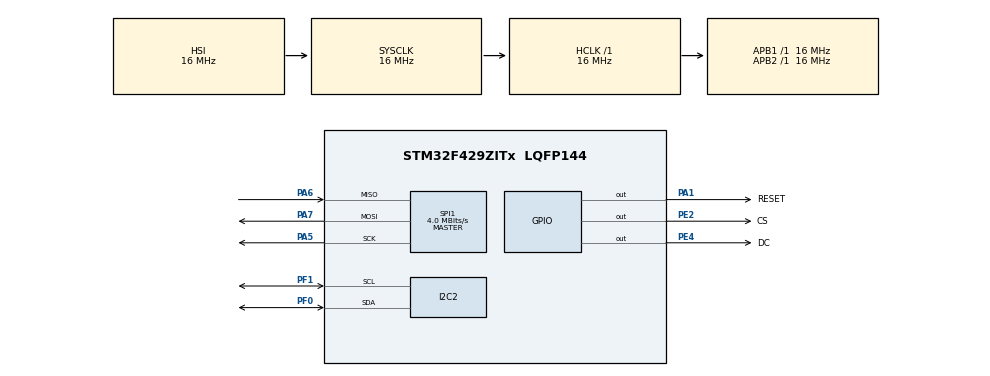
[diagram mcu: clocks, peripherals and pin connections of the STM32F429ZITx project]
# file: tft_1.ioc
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Mcu.Family=STM32F4
PA6.Mode=Full_Duplex_Master
RCC.CortexFreq_Value=16000000
PA7.Mode=Full_Duplex_Master
SPI1.VirtualType=VM_MASTER
PE2.PinState=GPIO_PIN_SET
ProjectManager.StackSize=0x400
PA13.Signal=SYS_JTMS-SWDIO
PF1.Mode=I2C
ProjectManager.TargetToolchain=STM32CubeIDE
SPI1.Direction=SPI_DIRECTION_2LINES
SPI1.CalculateBaudRate=4.0 MBits/s
RCC.LSE_VALUE=32768
PA1.Signal=GPIO_Output
RCC.AHBFreq_Value=16000000
PA5.Signal=SPI1_SCK
RCC.HSE_VALUE=25000000
board=custom
RCC.VCOOutputFreq_Value=192000000
RCC.APB2Freq_Value=16000000
SPI1.Mode=SPI_MODE_MASTER
PA14.Mode=Serial_Wire
PE4.GPIO_Label=DC
PA1.GPIO_Label=RESET
PE2.Signal=GPIO_Output
PF1.Signal=I2C2_SCL
PA13.Mode=Serial_Wire
PE4.Signal=GPIO_Output
Mcu.Name=STM32F429ZITx
RCC.SYSCLKFreq_VALUE=16000000
Mcu.Package=LQFP144
PA6.Signal=SPI1_MISO
PA14.Signal=SYS_JTCK-SWCLK
ProjectManager.HeapSize=0x200
PF0.Mode=I2C
RCC.HSI_VALUE=16000000
NVIC.PriorityGroup=NVIC_PRIORITYGROUP_4
PE4.PinState=GPIO_PIN_SET
PF0.Signal=I2C2_SDA
RCC.APB1Freq_Value=16000000
SPI1.BaudRatePrescaler=SPI_BAUDRATEPRESCALER_4
PE2.GPIO_Label=CS
PA5.Mode=Full_Duplex_Master
PA7.Signal=SPI1_MOSI

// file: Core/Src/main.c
/* USER CODE BEGIN Header */
/**
  ******************************************************************************
  * @file           : main.c
  * @brief          : Main program body
  ******************************************************************************
  * @attention
  *
  * <h2><center>&copy; Copyright (c) 2022 STMicroelectronics.
  * All rights reserved.</center></h2>
  *
  * This software component is licensed by ST under BSD 3-Clause license,
  * the "License"; You may not use this file except in compliance with the
  * License. You may obtain a copy of the License at:
  *                        opensource.org/licenses/BSD-3-Clause
  *
  ******************************************************************************
  */
/* USER CODE END Header */
#include "main.h"
#include "characters.h"

/* USER CODE BEGIN PD */
#define TFT_WIDTH 320
#define TFT_HEIGHT 240
#define TFT_HALF_HEIGHT 120

#define TFT_BLUE    0x1F00
#define TFT_RED     0x00F8
#define TFT_GREEN   0xE007

#define BLACK       	0x0000
#define NAVY        	0x0F00
#define DARKGREEN   	0xE003
#define DARKCYAN    	0xEF03
#define MAROON      	0x0078
#define PURPLE      	0x0F78
#define OLIVE       	0xE07B
#define LIGHTGREY   	0x18C6
#define DARKGREY    	0xEF7B
#define BLUE        	0x1F00
#define GREEN       	0xE007
#define CYAN        	0xFF07
#define RED         	0x00F8
#define MAGENTA     	0x1FF8
#define YELLOW      	0xE0FF
#define WHITE       	0xFFFF
#define ORANGE      	0x20FD
#define GREENYELLOW 	0xE5AF
#define PINK        	0x1FF8
/* USER CODE END PD */

I2C_HandleTypeDef hi2c2;

SPI_HandleTypeDef hspi1;

/* USER CODE BEGIN PV */
uint8_t val, data, dzientyg, rec_buf[16];
uint8_t sek, sekundy=0, sekundy1=0, sekundy2=0, sec=0;
uint8_t minuty=0, minuty1=0, minuty2=0, min=0;
uint8_t godziny=0, godziny1=0, godziny2=0, godz=0;
uint8_t dzien, dni1=0, dni2;
uint8_t miesiac, mies1=0, mies2;
uint8_t rok, rok1=0, rok2;
char sec1, sec2, godz1, godz2, min1, min2;
char dnic1, dnic2, miesc1, miesc2, rokc1, rokc2;

uint8_t sekSt=0x15, minSt=0x30, godzSt=0x12, dniSt=0x09, miesSt=0x06, rokSt=0x22;

uint16_t  dev_addr = 0xD0;
uint16_t  mem_addr = 0;
uint16_t  mem_addr_size =1;
uint8_t   data = 0;
uint16_t  data_size =1;
uint8_t buffer[17]={0x00,0x41,0x42,0x43,0x44,0x45,0x46,0x47,0x48,0x49,0x4A,0x4B,0x4C,0x4D,0x4E,0x4F,0x50};
uint32_t timeout = 100;
/* USER CODE END PV */

void SystemClock_Config(void);
static void MX_GPIO_Init(void);
static void MX_SPI1_Init(void);
static void MX_I2C2_Init(void);
/* USER CODE BEGIN PFP */

uint8_t Buffer[8];
uint8_t field = 0x00;

uint16_t year( uint8_t year ) { return 2000U + year; };

uint8_t ReadRegister( uint8_t reg )
{
	uint8_t val;
	HAL_I2C_Master_Transmit(&hi2c2, 0x68 << 1, &reg, 1, HAL_MAX_DELAY);
	HAL_I2C_Master_Receive(&hi2c2, 0x68 << 1, &val, 1, HAL_MAX_DELAY);
	return val;
}

/* USER CODE END PFP */

/* USER CODE BEGIN 0 */
void write_cmd(uint8_t cmd)
{
	//dc = 0;
	//komendy dla sterownika TFT  podaje się w stanie niskim linii DC
    HAL_GPIO_WritePin(DC_GPIO_Port, DC_Pin, 0);
    HAL_SPI_Transmit(&hspi1, &cmd, 1, 1);
}
void write_data(uint8_t data)
{
	//dc = 1;
	////dane do wyświetlenia  podaje się w stanie wysokim linii DC
	HAL_GPIO_WritePin(DC_GPIO_Port, DC_Pin, 1);
	HAL_SPI_Transmit(&hspi1, &data, 1, 1);
}

void tft_reset()
{
    //wait_ms(200);
    HAL_Delay(200);
    //cs = 1;
    HAL_GPIO_WritePin(CS_GPIO_Port, CS_Pin, 1);
    //dc = 1;
    HAL_GPIO_WritePin(DC_GPIO_Port, DC_Pin, 1);
    //rst = 1;
    HAL_GPIO_WritePin(RESET_GPIO_Port, RESET_Pin, 1);
    //wait_ms(200);
    HAL_Delay(200);
    //rst = 0;
    HAL_GPIO_WritePin(RESET_GPIO_Port, RESET_Pin, 0);
    //wait_us(10);
    HAL_Delay(1);

    //rst = 1;
    HAL_GPIO_WritePin(RESET_GPIO_Port, RESET_Pin, 1);
    //wait_ms(120);
    HAL_Delay(120);
    //cs = 0;
    HAL_GPIO_WritePin(CS_GPIO_Port, CS_Pin, 0);
    //wait_ms(10);
    HAL_Delay(10);

    write_cmd(0x3A); // wybór formatu i rozdzielczości kolorów
    write_data(0x55); // 16bit Color

    write_cmd(0xB1); // wybór częstotliwości odświeżania
    write_data(0);
    write_data(0x1f);//0x001f  mała częstotliwość odświeżania

    write_cmd(0x36); // Memory Access Control
    write_data(0xE8); // MY MX MV BGR

    write_cmd(0x11); // Sleep Out
    //wait_ms(5);
    HAL_Delay(5);

    write_cmd(0x29); // Display On
}

void tft_set_window(uint16_t x0, uint16_t y0, uint16_t x1, uint16_t y1)
{
  write_cmd(0x2A); // Column Address Set
  write_data(x0 >> 8);
  write_data(x0);
  write_data(x1 >> 8);
  write_data(x1);

  write_cmd(0x2B); // Page Address Set
  write_data(y0 >> 8);
  write_data(y0);
  write_data(y1 >> 8);
  write_data(y1);

  write_cmd(0x2C); // Memory Write

  HAL_Delay(1);
}

void tft_clear(uint16_t color)
{
	tft_set_window(0, 0, TFT_WIDTH, TFT_HEIGHT);
	uint8_t  c1 = color & 0xff;//młodsze 8 bitów zmiennej color
	uint8_t  c2 = color >>8;////starsze 8 bitów zmiennej color
	for (int i = 0; i < TFT_WIDTH * TFT_HEIGHT; ++i)
	{
		write_data(c1);
		write_data(c2);
	}
}

void tft_clear_half(uint16_t color1, uint16_t color2)
{
	tft_set_window(0, 0, TFT_WIDTH, TFT_HEIGHT);
	uint8_t  c1 = color1 & 0xff;//młodsze 8 bitów zmiennej color
	uint8_t  c2 = color1 >>8;////starsze 8 bitów zmiennej color
	for (int i = 0; i < (TFT_WIDTH * TFT_HEIGHT)/2; ++i)
	{
		write_data(c1);
		write_data(c2);
	}

	uint8_t c3 = color2 & 0xff;//młodsze 8 bitów zmiennej color
	uint8_t c4 = color2 >>8;////starsze 8 bitów zmiennej color
	for (int i = (TFT_WIDTH * TFT_HEIGHT)/2; i < TFT_WIDTH * TFT_HEIGHT; ++i)
	{
		write_data(c3);
		write_data(c4);
	}
}

void tft_clear_square(uint16_t color)
{
	tft_set_window(60, 60, TFT_WIDTH-60, TFT_HEIGHT-60);
	uint8_t  c1 = color & 0xff;//młodsze 8 bitów zmiennej color
	uint8_t  c2 = color >>8;////starsze 8 bitów zmiennej color
	for (int i = 0; i < TFT_WIDTH * TFT_HEIGHT; ++i)
	{
		write_data(c1);
		write_data(c2);
	}
}

void ILI9341_Draw_Char(int x, int y, unsigned int color, unsigned int phone, unsigned char charcode, unsigned char size)
{
	int i,h;

	switch(size)
	{
		case 1:
			tft_set_window(x, y, x+5, y+8);

			for(h=0;h<8;h++)
			{
				for(i=2;i<8;i++)
				{
					if ((chars8[charcode-0x20][h]>>(7-i))&0x01)
					{
						   uint8_t  c1 = color & 0xff;
						   uint8_t  c2 = color >>8;
						   write_data(c1);//młodsze 8 bitów zmiennej color
						   write_data(c2);//starsze 8 bitów zmiennej color
					}
					else
					{
						   uint8_t  p1 = phone & 0xff;//tło
						   uint8_t  p2 = phone >>8;

						   write_data(p1);//młodsze 8 bitów zmiennej phone (tło)
						   write_data(p2);//starsze 8 bitów zmiennej phone (tło)
					}
				}
			}
			break;
		case 2:
			tft_set_window(x, y, x+7, y+16);

			for(h=0;h<16;h++)
			{
				for(i=0;i<8;i++)
				{
					if ((chars16[charcode-0x20][h]>>(7-i))&0x01)
					{
						uint8_t  c1 = color & 0xff;
						uint8_t  c2 = color >>8;
						write_data(c1);//młodsze 8 bitów zmiennej color
						write_data(c2);//starsze 8 bitów zmiennej color
					}
					else
					{
						uint8_t  p1 = phone & 0xff;
						uint8_t  p2 = phone >>8;
						write_data(p1);//młodsze 8 bitów zmiennej phone (tło)
							write_data(p2);//starsze 8 bitów zmiennej phone (tło)
					}
				}
			}
		break;
	}
}
/* USER CODE END 0 */

int main(void)
{

  /* MCU Configuration--------------------------------------------------------*/

  /* Reset of all peripherals, Initializes the Flash interface and the Systick. */
  HAL_Init();

  /* Configure the system clock */
  SystemClock_Config();

  /* Initialize all configured peripherals */
  MX_GPIO_Init();
  MX_SPI1_Init();
  MX_I2C2_Init();
  /* USER CODE BEGIN 2 */

  	tft_reset();

  	HAL_I2C_Mem_Write(&hi2c2, dev_addr, mem_addr, mem_addr_size, &sekSt, 16, HAL_MAX_DELAY);
  	HAL_I2C_Mem_Write(&hi2c2, dev_addr, mem_addr+1, mem_addr_size, &minSt, 16, HAL_MAX_DELAY);
  	HAL_I2C_Mem_Write(&hi2c2, dev_addr, mem_addr+2, mem_addr_size, &godzSt, 16, HAL_MAX_DELAY);
  	HAL_I2C_Mem_Write(&hi2c2, dev_addr, mem_addr+4, mem_addr_size, &dniSt, 16, HAL_MAX_DELAY);
  	HAL_I2C_Mem_Write(&hi2c2, dev_addr, mem_addr+5, mem_addr_size, &miesSt, 16, HAL_MAX_DELAY);
  	HAL_I2C_Mem_Write(&hi2c2, dev_addr, mem_addr+6, mem_addr_size, &rokSt, 16, HAL_MAX_DELAY);

    write_cmd(0x36);
    write_data(0x28);//0b MY MX MV ML RGB=1 MH 0 0
    //write_data(0xe8);
    //write_data(0x38);
    //write_data(0x68);
    //write_data(0xa8);

    tft_clear(BLACK);
    //tft_clear(RED);

    //tft_clear_half(YELLOW, BLUE);

    //tft_clear_square(RED);
    //tft_clear(RED);

    //ILI9341_Draw_Char(50, 50, GREEN, BLACK, 'a', 2);

	HAL_Delay(100);
	HAL_I2C_Mem_Write(&hi2c2, dev_addr, mem_addr, mem_addr_size, &data, data_size, HAL_MAX_DELAY);
	HAL_I2C_Master_Transmit(&hi2c2, dev_addr, buffer, 2, HAL_MAX_DELAY);
	HAL_Delay(100);

  /* USER CODE END 2 */

  /* Infinite loop */
  while (1)
  {

    /* USER CODE BEGIN 3 */
	  HAL_I2C_Mem_Read(&hi2c2, dev_addr, mem_addr, mem_addr_size, rec_buf, 16, HAL_MAX_DELAY);
	  HAL_I2C_Master_Transmit(&hi2c2, dev_addr, &data, data_size, timeout);
	  HAL_I2C_Master_Receive(&hi2c2, dev_addr, &sekundy, data_size, timeout);

	  sec = rec_buf[0];
	  sekundy1 = sec & 0b00001111;
	  sec = sec >> 4;
	  sekundy2 = sec & 0b00001111;

	  min = rec_buf[1];
	  minuty1 = min & 0b00001111;
	  min = min >> 4;
	  minuty2 = min & 0b00001111;

	  godz = rec_buf[2];
	  godziny1 = godz & 0b00001111;
	  godz = godz >> 4;
	  godziny2 = godz & 0b00001111;

	  sec1 = sekundy1 + '0';
	  sec2 = sekundy2 + '0';

	  min1 = minuty1 + '0';
	  min2 = minuty2 + '0';

	  godz1 = godziny1 + '0';
	  godz2 = godziny2 + '0';

	  ILI9341_Draw_Char(120, 100, GREEN, BLACK, godz2, 2);
	  ILI9341_Draw_Char(140, 100, GREEN, BLACK, godz1, 2);

	  ILI9341_Draw_Char(160, 100, GREEN, BLACK, 58, 2);

	  ILI9341_Draw_Char(180, 100, GREEN, BLACK, min2, 2);
	  ILI9341_Draw_Char(200, 100, GREEN, BLACK, min1, 2);

	  ILI9341_Draw_Char(220, 100, GREEN, BLACK, 58, 2);

	  ILI9341_Draw_Char(240, 100, GREEN, BLACK, sec2, 2);
	  ILI9341_Draw_Char(260, 100, GREEN, BLACK, sec1, 2);

	  HAL_Delay(50);

	  dzien = rec_buf[4];
	  dni1 = dzien & 0b00001111;
	  dzien = dzien >> 4;
	  dni2 = dzien & 0b00001111;

	  miesiac = rec_buf[5];

	  if(miesiac == 0x01) {
		  ILI9341_Draw_Char(180, 160, GREEN, BLACK, 'J', 2);
		  ILI9341_Draw_Char(200, 160, GREEN, BLACK, 'A', 2);
		  ILI9341_Draw_Char(220, 160, GREEN, BLACK, 'N', 2);
	  }
	  else if(miesiac == 0x02) {
		  ILI9341_Draw_Char(180, 160, GREEN, BLACK, 'F', 2);
		  ILI9341_Draw_Char(200, 160, GREEN, BLACK, 'E', 2);
		  ILI9341_Draw_Char(220, 160, GREEN, BLACK, 'B', 2);
	  }
	  else if(miesiac == 0x03) {
		  ILI9341_Draw_Char(180, 160, GREEN, BLACK, 'M', 2);
		  ILI9341_Draw_Char(200, 160, GREEN, BLACK, 'A', 2);
		  ILI9341_Draw_Char(220, 160, GREEN, BLACK, 'R', 2);
	  }
	  else if(miesiac == 0x04) {
		  ILI9341_Draw_Char(180, 160, GREEN, BLACK, 'A', 2);
		  ILI9341_Draw_Char(200, 160, GREEN, BLACK, 'P', 2);
		  ILI9341_Draw_Char(220, 160, GREEN, BLACK, 'R', 2);
	  }
	  else if(miesiac == 0x05) {
		  ILI9341_Draw_Char(180, 160, GREEN, BLACK, 'M', 2);
		  ILI9341_Draw_Char(200, 160, GREEN, BLACK, 'A', 2);
		  ILI9341_Draw_Char(220, 160, GREEN, BLACK, 'Y', 2);
	  }
	  else if(miesiac == 0x06) {
		  ILI9341_Draw_Char(180, 160, GREEN, BLACK, 'J', 2);
		  ILI9341_Draw_Char(200, 160, GREEN, BLACK, 'U', 2);
		  ILI9341_Draw_Char(220, 160, GREEN, BLACK, 'N', 2);
	  }
	  else if(miesiac == 0x07) {
		  ILI9341_Draw_Char(180, 160, GREEN, BLACK, 'J', 2);
		  ILI9341_Draw_Char(200, 160, GREEN, BLACK, 'U', 2);
		  ILI9341_Draw_Char(220, 160, GREEN, BLACK, 'L', 2);
	  }
	  else if(miesiac == 0x08) {
		  ILI9341_Draw_Char(180, 160, GREEN, BLACK, 'A', 2);
		  ILI9341_Draw_Char(200, 160, GREEN, BLACK, 'U', 2);
		  ILI9341_Draw_Char(220, 160, GREEN, BLACK, 'G', 2);
	  }
	  else if(miesiac == 0x09) {
		  ILI9341_Draw_Char(180, 160, GREEN, BLACK, 'S', 2);
		  ILI9341_Draw_Char(200, 160, GREEN, BLACK, 'E', 2);
		  ILI9341_Draw_Char(220, 160, GREEN, BLACK, 'P', 2);
	  }
	  else if(miesiac == 0x10) {
		  ILI9341_Draw_Char(180, 160, GREEN, BLACK, 'O', 2);
		  ILI9341_Draw_Char(200, 160, GREEN, BLACK, 'C', 2);
		  ILI9341_Draw_Char(220, 160, GREEN, BLACK, 'T', 2);
	  }
	  else if(miesiac == 0x11) {
		  ILI9341_Draw_Char(180, 160, GREEN, BLACK, 'N', 2);
		  ILI9341_Draw_Char(200, 160, GREEN, BLACK, 'O', 2);
		  ILI9341_Draw_Char(220, 160, GREEN, BLACK, 'V', 2);
	  }
	  else if(miesiac == 0x12) {
		  ILI9341_Draw_Char(180, 160, GREEN, BLACK, 'D', 2);
		  ILI9341_Draw_Char(200, 160, GREEN, BLACK, 'E', 2);
		  ILI9341_Draw_Char(220, 160, GREEN, BLACK, 'C', 2);
	  }

//	  mies1 = miesiac & 0b00001111;
//	  miesiac = miesiac >> 4;
//	  mies2 = miesiac & 0b00001111;

	  rok = rec_buf[6];
	  rok1 = rok & 0b00001111;
	  rok = rok >> 4;
	  rok2 = rok & 0b00001111;

	  dnic1 = dni1 + '0';
	  dnic2 = dni2 + '0';

	  miesc1 = mies1 + '0';
	  miesc2 = mies2 + '0';

	  rokc1 = rok1 + '0';
	  rokc2 = rok2 + '0';

	  ILI9341_Draw_Char(120, 160, GREEN, BLACK, dnic2, 2);
	  ILI9341_Draw_Char(140, 160, GREEN, BLACK, dnic1, 2);

	  ILI9341_Draw_Char(260, 160, GREEN, BLACK, rokc2, 2);
	  ILI9341_Draw_Char(280, 160, GREEN, BLACK, rokc1, 2);
  }
  /* USER CODE END 3 */
}

void SystemClock_Config(void)
{
  RCC_OscInitTypeDef RCC_OscInitStruct = {0};
  RCC_ClkInitTypeDef RCC_ClkInitStruct = {0};

  /** Configure the main internal regulator output voltage
  */
  __HAL_RCC_PWR_CLK_ENABLE();
  __HAL_PWR_VOLTAGESCALING_CONFIG(PWR_REGULATOR_VOLTAGE_SCALE3);
  /** Initializes the RCC Oscillators according to the specified parameters
  * in the RCC_OscInitTypeDef structure.
  */
  RCC_OscInitStruct.OscillatorType = RCC_OSCILLATORTYPE_HSI;
  RCC_OscInitStruct.HSIState = RCC_HSI_ON;
  RCC_OscInitStruct.HSICalibrationValue = RCC_HSICALIBRATION_DEFAULT;
  RCC_OscInitStruct.PLL.PLLState = RCC_PLL_NONE;
  if (HAL_RCC_OscConfig(&RCC_OscInitStruct) != HAL_OK)
  {
    Error_Handler();
  }
  /** Initializes the CPU, AHB and APB buses clocks
  */
  RCC_ClkInitStruct.ClockType = RCC_CLOCKTYPE_HCLK|RCC_CLOCKTYPE_SYSCLK
                              |RCC_CLOCKTYPE_PCLK1|RCC_CLOCKTYPE_PCLK2;
  RCC_ClkInitStruct.SYSCLKSource = RCC_SYSCLKSOURCE_HSI;
  RCC_ClkInitStruct.AHBCLKDivider = RCC_SYSCLK_DIV1;
  RCC_ClkInitStruct.APB1CLKDivider = RCC_HCLK_DIV1;
  RCC_ClkInitStruct.APB2CLKDivider = RCC_HCLK_DIV1;

  if (HAL_RCC_ClockConfig(&RCC_ClkInitStruct, FLASH_LATENCY_0) != HAL_OK)
  {
    Error_Handler();
  }
}

static void MX_I2C2_Init(void)
{

  hi2c2.Instance = I2C2;
  hi2c2.Init.ClockSpeed = 100000;
  hi2c2.Init.DutyCycle = I2C_DUTYCYCLE_2;
  hi2c2.Init.OwnAddress1 = 0;
  hi2c2.Init.AddressingMode = I2C_ADDRESSINGMODE_7BIT;
  hi2c2.Init.DualAddressMode = I2C_DUALADDRESS_DISABLE;
  hi2c2.Init.OwnAddress2 = 0;
  hi2c2.Init.GeneralCallMode = I2C_GENERALCALL_DISABLE;
  hi2c2.Init.NoStretchMode = I2C_NOSTRETCH_DISABLE;
  if (HAL_I2C_Init(&hi2c2) != HAL_OK)
  {
    Error_Handler();
  }
  /** Configure Analogue filter
  */
  if (HAL_I2CEx_ConfigAnalogFilter(&hi2c2, I2C_ANALOGFILTER_ENABLE) != HAL_OK)
  {
    Error_Handler();
  }
  /** Configure Digital filter
  */
  if (HAL_I2CEx_ConfigDigitalFilter(&hi2c2, 0) != HAL_OK)
  {
    Error_Handler();
  }

}

static void MX_SPI1_Init(void)
{

  /* SPI1 parameter configuration*/
  hspi1.Instance = SPI1;
  hspi1.Init.Mode = SPI_MODE_MASTER;
  hspi1.Init.Direction = SPI_DIRECTION_2LINES;
  hspi1.Init.DataSize = SPI_DATASIZE_8BIT;
  hspi1.Init.CLKPolarity = SPI_POLARITY_LOW;
  hspi1.Init.CLKPhase = SPI_PHASE_1EDGE;
  hspi1.Init.NSS = SPI_NSS_SOFT;
  hspi1.Init.BaudRatePrescaler = SPI_BAUDRATEPRESCALER_4;
  hspi1.Init.FirstBit = SPI_FIRSTBIT_MSB;
  hspi1.Init.TIMode = SPI_TIMODE_DISABLE;
  hspi1.Init.CRCCalculation = SPI_CRCCALCULATION_DISABLE;
  hspi1.Init.CRCPolynomial = 10;
  if (HAL_SPI_Init(&hspi1) != HAL_OK)
  {
    Error_Handler();
  }

}

static void MX_GPIO_Init(void)
{
  GPIO_InitTypeDef GPIO_InitStruct = {0};

  /* GPIO Ports Clock Enable */
  __HAL_RCC_GPIOE_CLK_ENABLE();
  __HAL_RCC_GPIOF_CLK_ENABLE();
  __HAL_RCC_GPIOA_CLK_ENABLE();

  /*Configure GPIO pin Output Level */
  HAL_GPIO_WritePin(GPIOE, CS_Pin|DC_Pin, GPIO_PIN_SET);

  /*Configure GPIO pin Output Level */
  HAL_GPIO_WritePin(RESET_GPIO_Port, RESET_Pin, GPIO_PIN_RESET);

  /*Configure GPIO pins : CS_Pin DC_Pin */
  GPIO_InitStruct.Pin = CS_Pin|DC_Pin;
  GPIO_InitStruct.Mode = GPIO_MODE_OUTPUT_PP;
  GPIO_InitStruct.Pull = GPIO_NOPULL;
  GPIO_InitStruct.Speed = GPIO_SPEED_FREQ_LOW;
  HAL_GPIO_Init(GPIOE, &GPIO_InitStruct);

  /*Configure GPIO pin : RESET_Pin */
  GPIO_InitStruct.Pin = RESET_Pin;
  GPIO_InitStruct.Mode = GPIO_MODE_OUTPUT_PP;
  GPIO_InitStruct.Pull = GPIO_NOPULL;
  GPIO_InitStruct.Speed = GPIO_SPEED_FREQ_LOW;
  HAL_GPIO_Init(RESET_GPIO_Port, &GPIO_InitStruct);

}

void Error_Handler(void)
{
  __disable_irq();
  while (1)
  {
  }
}

/************************ (C) COPYRIGHT STMicroelectronics *****END OF FILE****/
